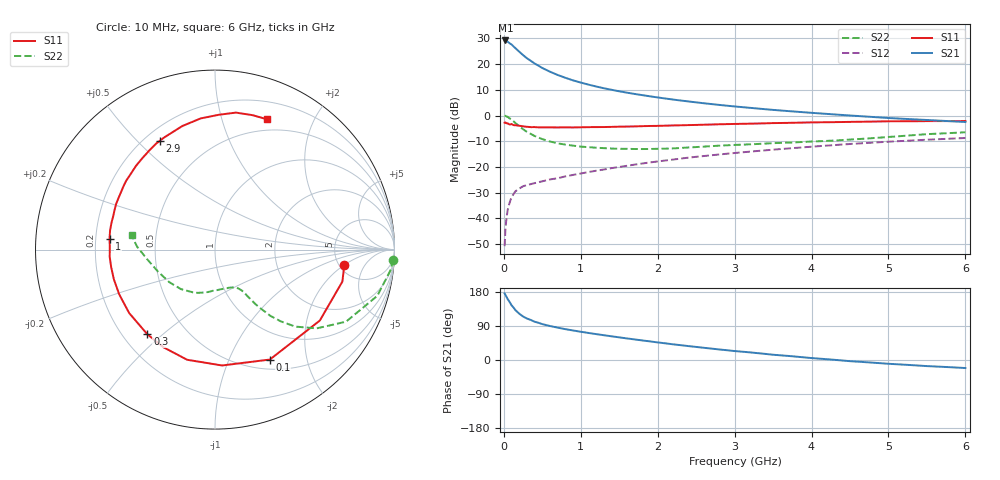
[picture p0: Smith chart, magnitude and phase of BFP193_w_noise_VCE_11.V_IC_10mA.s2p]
! Infineon Technologies  Discrete & RF Semiconductors
! BFP193
! VCE =  11. V,  IC =  10 mA
! Common Emitter S-Parameters:  Jan 2017
# GHz  S  MA  R  50
!  f  S11  S21  S12  S22
! GHz  MAG  ANG  MAG  ANG  MAG  ANG  MAG  ANG
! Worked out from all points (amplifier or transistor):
!   77 points, 10 MHz to 6 GHz, reference 50 ohm
!   highest |S21| = 29.1 dB at 20 MHz (marker M1)
!   |S21| within 3 dB of that: start of sweep to 150.8 MHz
!   unconditionally stable (mu >= 1): 1.185 GHz to 2.584 GHz
!   at 130 MHz: K = 0.23, MSG = 28.5 dB, |S12| = -30.3 dB
!   at 2.2 GHz: K = 1.03, MAG = 10.6 dB, |S12| = -17.1 dB
!   at 6 GHz: K = 0.85, MSG = 3.1 dB, |S12| = -8.7 dB
!   lowest NFmin = 0.87 dB at 450 MHz
!   S11 on the Smith chart (normalised r, x): 10 MHz: 5.50, -2.05; 100 MHz: 0.62, -1.43; 300 MHz: 0.30, -0.45; 1 GHz: 0.26, +0.05; 2.9 GHz: 0.26, +0.59; 6 GHz: 0.38, +1.41
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0.01  0.7256 -7.0  28.58 175.7  0.0029 86.9  0.9941 -3.2
0.02  0.7317 -14.1  28.66 172.0  0.0059 88.7  0.9845 -6.7
0.05  0.7052 -34.1  27.15 160.6  0.0146 73.3  0.9404 -15.9
0.1  0.6846 -63.5  23.98 144.4  0.0259 63.3  0.8332 -28.8
0.15  0.6468 -86.5  20.34 131.7  0.0337 53.8  0.716 -37.8
0.2  0.6331 -104.2  17.35 122.3  0.0381 49.8  0.6197 -43.8
0.25  0.6153 -117.9  14.89 114.8  0.0423 45.5  0.5419 -47.5
0.3  0.6039 -128.6  12.94 109.4  0.0445 44.2  0.4812 -50.1
0.4  0.5947 -143.6  10.22 101.0  0.0486 43.3  0.3996 -52.8
0.5  0.589 -155.0  8.367 94.7  0.0527 43.3  0.348 -54.2
0.6  0.5873 -163.5  7.086 89.7  0.0574 44.3  0.3125 -55.2
0.7  0.5865 -170.2  6.12 85.4  0.0604 46.0  0.2879 -55.8
0.9  0.5863 178.6  4.808 77.9  0.0702 48.3  0.2597 -58.1
1  0.5907 174.1  4.357 74.5  0.0747 49.6  0.2488 -59.6
1.1  0.594 169.9  3.978 71.4  0.0798 50.4  0.2427 -61.1
1.5  0.607 155.1  2.95 59.8  0.1002 52.0  0.2255 -70.5
2.1  0.6344 136.3  2.139 44.0  0.1338 51.2  0.2273 -89.6
2.9  0.6801 116.7  1.551 25.8  0.181 46.4  0.2637 -114.7
3.1  0.6894 112.5  1.453 21.9  0.1928 44.8  0.2716 -120.4
4.1  0.7374 94.6  1.1 3.6  0.254 35.9  0.3165 -147.6
5.1  0.7723 79.9  0.878 -11.1  0.3155 25.1  0.3921 -174.4
6  0.7819 68.1  0.748 -21.2  0.3656 14.8  0.4721 170.1
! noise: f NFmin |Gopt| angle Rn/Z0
0.45  0.87  0.21  156  0.07
0.9  1  0.35  173  0.06
1.9  1.75  0.57  -146  0.13
2.4  2.13  0.63  -128  0.31
